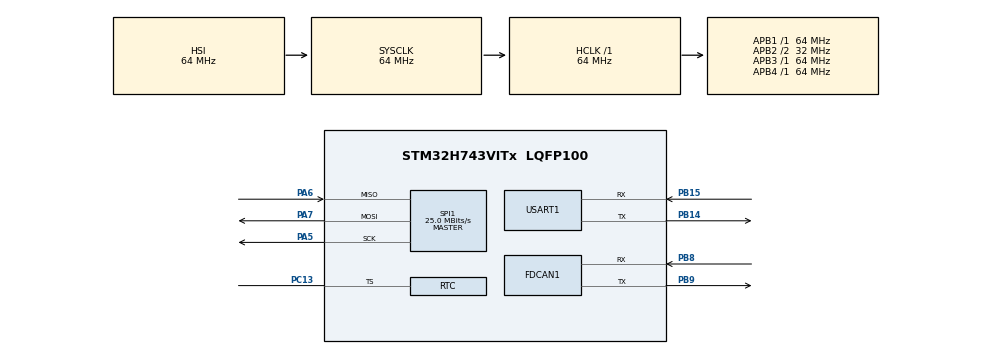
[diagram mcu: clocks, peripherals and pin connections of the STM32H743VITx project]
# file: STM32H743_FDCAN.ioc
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FDCAN1.CalculateBaudRateNominal=500000
FDCAN1.CalculateTimeBitNominal=2000
FDCAN1.CalculateTimeQuantumNominal=100.0
FDCAN1.NominalPrescaler=5
FDCAN1.NominalTimeSeg1=14
FDCAN1.NominalTimeSeg2=5
Mcu.Family=STM32H7
Mcu.Name=STM32H743VITx
Mcu.Package=LQFP100
NVIC.PriorityGroup=NVIC_PRIORITYGROUP_4
NVIC.RCC_IRQn=true\:0\:0\:false\:false\:true\:true\:false\:true
NVIC.USART1_IRQn=true\:0\:0\:false\:false\:true\:true\:true\:true
PA5.GPIO_Speed=GPIO_SPEED_FREQ_HIGH
PA5.Mode=Full_Duplex_Master
PA5.Signal=SPI1_SCK
PA6.GPIO_PuPd=GPIO_PULLDOWN
PA6.Mode=Full_Duplex_Master
PA6.Signal=SPI1_MISO
PA7.GPIO_Speed=GPIO_SPEED_FREQ_HIGH
PA7.Mode=Full_Duplex_Master
PA7.Signal=SPI1_MOSI
PB14.Mode=Asynchronous
PB14.Signal=USART1_TX
PB15.Mode=Asynchronous
PB15.Signal=USART1_RX
PB8.Mode=FDCAN_Activate
PB8.Signal=FDCAN1_RX
PB9.Mode=FDCAN_Activate
PB9.Signal=FDCAN1_TX
PC13.Mode=Timestamp enabled - Input Enabled to TS
PC13.Signal=RTC_TS
PC14-OSC32_IN\ (OSC32_IN).Mode=LSE-External-Oscillator
PC14-OSC32_IN\ (OSC32_IN).Signal=RCC_OSC32_IN
PC15-OSC32_OUT\ (OSC32_OUT).Mode=LSE-External-Oscillator
PC15-OSC32_OUT\ (OSC32_OUT).Signal=RCC_OSC32_OUT
PH0-OSC_IN\ (PH0).Mode=HSE-External-Oscillator
PH0-OSC_IN\ (PH0).Signal=RCC_OSC_IN
PH1-OSC_OUT\ (PH1).Mode=HSE-External-Oscillator
PH1-OSC_OUT\ (PH1).Signal=RCC_OSC_OUT
ProjectManager.HeapSize=0x200
ProjectManager.StackSize=0x400
ProjectManager.TargetToolchain=STM32CubeIDE
RCC.ADCFreq_Value=32250000
RCC.APB1Freq_Value=64000000
RCC.APB2Freq_Value=32000000
RCC.APB3Freq_Value=64000000
RCC.APB4Freq_Value=64000000
RCC.CortexFreq_Value=64000000
RCC.D2PPRE2=RCC_APB2_DIV2
RCC.DIVM1=1
RCC.DIVN1=9
RCC.DIVQ1=3
RCC.HCLKFreq_Value=64000000
RCC.HSE_VALUE=16000000
RCC.PLLFRACN=3072
RCC.PLLSourceVirtual=RCC_PLLSOURCE_HSE
RCC.SYSCLKFreq_VALUE=64000000
RCC.USBFreq_Value=50000000
SPI1.CalculateBaudRate=25.0 MBits/s
SPI1.Direction=SPI_DIRECTION_2LINES
SPI1.Mode=SPI_MODE_MASTER
SPI1.VirtualType=VM_MASTER
USART1.VirtualMode-Asynchronous=VM_ASYNC
VP_RTC_VS_RTC_Activate.Mode=RTC_Enabled
VP_RTC_VS_RTC_Calendar.Mode=RTC_Calendar
board=custom

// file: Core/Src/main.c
/* USER CODE BEGIN Header */
/**
  ******************************************************************************
  * @file           : main.c
  * @brief          : Main program body
  ******************************************************************************
  * @attention
  *
  * Copyright (c) 2023 STMicroelectronics.
  * All rights reserved.
  *
  * This software is licensed under terms that can be found in the LICENSE file
  * in the root directory of this software component.
  * If no LICENSE file comes with this software, it is provided AS-IS.
  *
  ******************************************************************************
  */
/* USER CODE END Header */
#include "main.h"
#include "stm32h7xx_hal.h"

FDCAN_HandleTypeDef hfdcan1;

RTC_HandleTypeDef hrtc;

SPI_HandleTypeDef hspi1;

UART_HandleTypeDef huart1;

void SystemClock_Config(void);
static void MX_GPIO_Init(void);
static void MX_SPI1_Init(void);
static void MX_USART1_UART_Init(void);
static void MX_RTC_Init(void);
static void MX_FDCAN1_Init(void);

/* USER CODE BEGIN 0 */
FDCAN_TxHeaderTypeDef TxHeader;

void FDCAN_Init() {
    hfdcan1.Instance = FDCAN1; // FDCANx is your FDCAN instance (e.g., FDCAN1, FDCAN2)

    // FDCAN initialization code (as shown in the previous example)

    // Configure the FDCAN header
    TxHeader.Identifier = 0x123; // Example identifier (11-bit or 29-bit)
    TxHeader.DataLength = FDCAN_DLC_BYTES_8; // Example: 8 bytes of data
    TxHeader.TxFrameType = FDCAN_DATA_FRAME; // Example: data frame
    TxHeader.ErrorStateIndicator = FDCAN_ESI_ACTIVE; // Error state indicator
    TxHeader.BitRateSwitch = FDCAN_BRS_OFF; // Bit rate switching (if using CAN FD)
    TxHeader.FDFormat = FDCAN_CLASSIC_CAN; // Classic CAN or CAN FD
    TxHeader.TxEventFifoControl = FDCAN_NO_TX_EVENTS; // Tx Event FIFO control
    TxHeader.MessageMarker = 0; // Message marker (if using Rx FIFO 0)
}

void SendCANMessage(uint8_t *data) {
    // Prepare and send CAN message
    if (HAL_FDCAN_AddMessageToTxFifoQ(&hfdcan1, &TxHeader, data) != HAL_OK) {
        Error_Handler(); // Handle error
    }
}

/* USER CODE END 0 */

int main(void)
{

  /* MCU Configuration--------------------------------------------------------*/

  /* Reset of all peripherals, Initializes the Flash interface and the Systick. */
  HAL_Init();

  /* Configure the system clock */
  SystemClock_Config();

  /* Initialize all configured peripherals */
  MX_GPIO_Init();
  MX_SPI1_Init();
  MX_USART1_UART_Init();
  MX_RTC_Init();
  MX_FDCAN1_Init();
  /* USER CODE BEGIN 2 */

  // Example data to send
  uint8_t data[8] = {0x01, 0x02, 0x03, 0x04, 0x05, 0x06, 0x07, 0x08};

  // Send CAN message
  SendCANMessage(data);
  /* USER CODE END 2 */

  /* Infinite loop */
  while (1)
  {

  }
}

void SystemClock_Config(void)
{
  RCC_OscInitTypeDef RCC_OscInitStruct = {0};
  RCC_ClkInitTypeDef RCC_ClkInitStruct = {0};

  /** Supply configuration update enable
  */
  HAL_PWREx_ConfigSupply(PWR_LDO_SUPPLY);

  /** Configure the main internal regulator output voltage
  */
  __HAL_PWR_VOLTAGESCALING_CONFIG(PWR_REGULATOR_VOLTAGE_SCALE3);

  while(!__HAL_PWR_GET_FLAG(PWR_FLAG_VOSRDY)) {}

  /** Initializes the RCC Oscillators according to the specified parameters
  * in the RCC_OscInitTypeDef structure.
  */
  RCC_OscInitStruct.OscillatorType = RCC_OSCILLATORTYPE_HSI|RCC_OSCILLATORTYPE_LSI
                              |RCC_OSCILLATORTYPE_HSE;
  RCC_OscInitStruct.HSEState = RCC_HSE_ON;
  RCC_OscInitStruct.HSIState = RCC_HSI_DIV1;
  RCC_OscInitStruct.HSICalibrationValue = RCC_HSICALIBRATION_DEFAULT;
  RCC_OscInitStruct.LSIState = RCC_LSI_ON;
  RCC_OscInitStruct.PLL.PLLState = RCC_PLL_ON;
  RCC_OscInitStruct.PLL.PLLSource = RCC_PLLSOURCE_HSE;
  RCC_OscInitStruct.PLL.PLLM = 1;
  RCC_OscInitStruct.PLL.PLLN = 9;
  RCC_OscInitStruct.PLL.PLLP = 2;
  RCC_OscInitStruct.PLL.PLLQ = 3;
  RCC_OscInitStruct.PLL.PLLR = 2;
  RCC_OscInitStruct.PLL.PLLRGE = RCC_PLL1VCIRANGE_3;
  RCC_OscInitStruct.PLL.PLLVCOSEL = RCC_PLL1VCOMEDIUM;
  RCC_OscInitStruct.PLL.PLLFRACN = 3072;
  if (HAL_RCC_OscConfig(&RCC_OscInitStruct) != HAL_OK)
  {
    Error_Handler();
  }

  /** Initializes the CPU, AHB and APB buses clocks
  */
  RCC_ClkInitStruct.ClockType = RCC_CLOCKTYPE_HCLK|RCC_CLOCKTYPE_SYSCLK
                              |RCC_CLOCKTYPE_PCLK1|RCC_CLOCKTYPE_PCLK2
                              |RCC_CLOCKTYPE_D3PCLK1|RCC_CLOCKTYPE_D1PCLK1;
  RCC_ClkInitStruct.SYSCLKSource = RCC_SYSCLKSOURCE_HSI;
  RCC_ClkInitStruct.SYSCLKDivider = RCC_SYSCLK_DIV1;
  RCC_ClkInitStruct.AHBCLKDivider = RCC_HCLK_DIV1;
  RCC_ClkInitStruct.APB3CLKDivider = RCC_APB3_DIV1;
  RCC_ClkInitStruct.APB1CLKDivider = RCC_APB1_DIV1;
  RCC_ClkInitStruct.APB2CLKDivider = RCC_APB2_DIV2;
  RCC_ClkInitStruct.APB4CLKDivider = RCC_APB4_DIV1;

  if (HAL_RCC_ClockConfig(&RCC_ClkInitStruct, FLASH_LATENCY_1) != HAL_OK)
  {
    Error_Handler();
  }
}

static void MX_FDCAN1_Init(void)
{

  hfdcan1.Instance = FDCAN1;
  hfdcan1.Init.FrameFormat = FDCAN_FRAME_CLASSIC;
  hfdcan1.Init.Mode = FDCAN_MODE_NORMAL;
  hfdcan1.Init.AutoRetransmission = DISABLE;
  hfdcan1.Init.TransmitPause = DISABLE;
  hfdcan1.Init.ProtocolException = DISABLE;
  hfdcan1.Init.NominalPrescaler = 5;
  hfdcan1.Init.NominalSyncJumpWidth = 1;
  hfdcan1.Init.NominalTimeSeg1 = 14;
  hfdcan1.Init.NominalTimeSeg2 = 5;
  hfdcan1.Init.DataPrescaler = 1;
  hfdcan1.Init.DataSyncJumpWidth = 1;
  hfdcan1.Init.DataTimeSeg1 = 1;
  hfdcan1.Init.DataTimeSeg2 = 1;
  hfdcan1.Init.MessageRAMOffset = 0;
  hfdcan1.Init.StdFiltersNbr = 0;
  hfdcan1.Init.ExtFiltersNbr = 0;
  hfdcan1.Init.RxFifo0ElmtsNbr = 0;
  hfdcan1.Init.RxFifo0ElmtSize = FDCAN_DATA_BYTES_8;
  hfdcan1.Init.RxFifo1ElmtsNbr = 0;
  hfdcan1.Init.RxFifo1ElmtSize = FDCAN_DATA_BYTES_8;
  hfdcan1.Init.RxBuffersNbr = 0;
  hfdcan1.Init.RxBufferSize = FDCAN_DATA_BYTES_8;
  hfdcan1.Init.TxEventsNbr = 0;
  hfdcan1.Init.TxBuffersNbr = 0;
  hfdcan1.Init.TxFifoQueueElmtsNbr = 0;
  hfdcan1.Init.TxFifoQueueMode = FDCAN_TX_FIFO_OPERATION;
  hfdcan1.Init.TxElmtSize = FDCAN_DATA_BYTES_8;
  if (HAL_FDCAN_Init(&hfdcan1) != HAL_OK)
  {
    Error_Handler();
  }

}

static void MX_RTC_Init(void)
{

  RTC_TimeTypeDef sTime = {0};
  RTC_DateTypeDef sDate = {0};

  /** Initialize RTC Only
  */
  hrtc.Instance = RTC;
  hrtc.Init.HourFormat = RTC_HOURFORMAT_24;
  hrtc.Init.AsynchPrediv = 127;
  hrtc.Init.SynchPrediv = 255;
  hrtc.Init.OutPut = RTC_OUTPUT_DISABLE;
  hrtc.Init.OutPutPolarity = RTC_OUTPUT_POLARITY_HIGH;
  hrtc.Init.OutPutType = RTC_OUTPUT_TYPE_OPENDRAIN;
  hrtc.Init.OutPutRemap = RTC_OUTPUT_REMAP_NONE;
  if (HAL_RTC_Init(&hrtc) != HAL_OK)
  {
    Error_Handler();
  }

  /** Initialize RTC and set the Time and Date
  */
  sTime.Hours = 0x0;
  sTime.Minutes = 0x0;
  sTime.Seconds = 0x0;
  sTime.DayLightSaving = RTC_DAYLIGHTSAVING_NONE;
  sTime.StoreOperation = RTC_STOREOPERATION_RESET;
  if (HAL_RTC_SetTime(&hrtc, &sTime, RTC_FORMAT_BCD) != HAL_OK)
  {
    Error_Handler();
  }
  sDate.WeekDay = RTC_WEEKDAY_MONDAY;
  sDate.Month = RTC_MONTH_JANUARY;
  sDate.Date = 0x1;
  sDate.Year = 0x0;
  if (HAL_RTC_SetDate(&hrtc, &sDate, RTC_FORMAT_BCD) != HAL_OK)
  {
    Error_Handler();
  }

  /** Enable the TimeStamp
  */
  if (HAL_RTCEx_SetTimeStamp(&hrtc, RTC_TIMESTAMPEDGE_RISING, RTC_TIMESTAMPPIN_DEFAULT) != HAL_OK)
  {
    Error_Handler();
  }

}

static void MX_SPI1_Init(void)
{

  /* SPI1 parameter configuration*/
  hspi1.Instance = SPI1;
  hspi1.Init.Mode = SPI_MODE_MASTER;
  hspi1.Init.Direction = SPI_DIRECTION_2LINES;
  hspi1.Init.DataSize = SPI_DATASIZE_4BIT;
  hspi1.Init.CLKPolarity = SPI_POLARITY_LOW;
  hspi1.Init.CLKPhase = SPI_PHASE_1EDGE;
  hspi1.Init.NSS = SPI_NSS_SOFT;
  hspi1.Init.BaudRatePrescaler = SPI_BAUDRATEPRESCALER_2;
  hspi1.Init.FirstBit = SPI_FIRSTBIT_MSB;
  hspi1.Init.TIMode = SPI_TIMODE_DISABLE;
  hspi1.Init.CRCCalculation = SPI_CRCCALCULATION_DISABLE;
  hspi1.Init.CRCPolynomial = 0x0;
  hspi1.Init.NSSPMode = SPI_NSS_PULSE_ENABLE;
  hspi1.Init.NSSPolarity = SPI_NSS_POLARITY_LOW;
  hspi1.Init.FifoThreshold = SPI_FIFO_THRESHOLD_01DATA;
  hspi1.Init.TxCRCInitializationPattern = SPI_CRC_INITIALIZATION_ALL_ZERO_PATTERN;
  hspi1.Init.RxCRCInitializationPattern = SPI_CRC_INITIALIZATION_ALL_ZERO_PATTERN;
  hspi1.Init.MasterSSIdleness = SPI_MASTER_SS_IDLENESS_00CYCLE;
  hspi1.Init.MasterInterDataIdleness = SPI_MASTER_INTERDATA_IDLENESS_00CYCLE;
  hspi1.Init.MasterReceiverAutoSusp = SPI_MASTER_RX_AUTOSUSP_DISABLE;
  hspi1.Init.MasterKeepIOState = SPI_MASTER_KEEP_IO_STATE_DISABLE;
  hspi1.Init.IOSwap = SPI_IO_SWAP_DISABLE;
  if (HAL_SPI_Init(&hspi1) != HAL_OK)
  {
    Error_Handler();
  }

}

static void MX_USART1_UART_Init(void)
{

  huart1.Instance = USART1;
  huart1.Init.BaudRate = 115200;
  huart1.Init.WordLength = UART_WORDLENGTH_8B;
  huart1.Init.StopBits = UART_STOPBITS_1;
  huart1.Init.Parity = UART_PARITY_NONE;
  huart1.Init.Mode = UART_MODE_TX_RX;
  huart1.Init.HwFlowCtl = UART_HWCONTROL_NONE;
  huart1.Init.OverSampling = UART_OVERSAMPLING_16;
  huart1.Init.OneBitSampling = UART_ONE_BIT_SAMPLE_DISABLE;
  huart1.Init.ClockPrescaler = UART_PRESCALER_DIV1;
  huart1.AdvancedInit.AdvFeatureInit = UART_ADVFEATURE_NO_INIT;
  if (HAL_UART_Init(&huart1) != HAL_OK)
  {
    Error_Handler();
  }
  if (HAL_UARTEx_SetTxFifoThreshold(&huart1, UART_TXFIFO_THRESHOLD_1_8) != HAL_OK)
  {
    Error_Handler();
  }
  if (HAL_UARTEx_SetRxFifoThreshold(&huart1, UART_RXFIFO_THRESHOLD_1_8) != HAL_OK)
  {
    Error_Handler();
  }
  if (HAL_UARTEx_DisableFifoMode(&huart1) != HAL_OK)
  {
    Error_Handler();
  }

}

static void MX_GPIO_Init(void)
{

  /* GPIO Ports Clock Enable */
  __HAL_RCC_GPIOC_CLK_ENABLE();
  __HAL_RCC_GPIOH_CLK_ENABLE();
  __HAL_RCC_GPIOA_CLK_ENABLE();
  __HAL_RCC_GPIOB_CLK_ENABLE();

}

void Error_Handler(void)
{
  __disable_irq();
  while (1)
  {
  }
}
